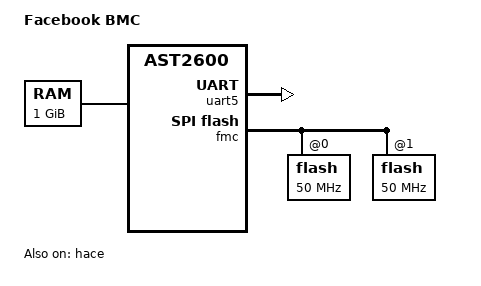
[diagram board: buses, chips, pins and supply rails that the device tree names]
// SPDX-License-Identifier: GPL-2.0+
// Copyright (c) 2024 Meta Platforms Inc.
/dts-v1/;

#include "ast2600-u-boot.dtsi"

/ {
	model = "Facebook BMC";
	compatible = "facebook,harma-bmc", "facebook,minerva-bmc", "aspeed,ast2600";

	memory {
		device_type = "memory";
		reg = <0x80000000 0x40000000>;
	};

	chosen {
		stdout-path = &uart5;
	};

	aliases {
		spi0 = &fmc;
	};

	cpus {
		cpu@0 {
			clock-frequency = <800000000>;
		};
		cpu@1 {
			clock-frequency = <800000000>;
		};
	};
};

&uart5 {
	u-boot,dm-pre-reloc;
	status = "okay";
};

&sdrammc {
	clock-frequency = <400000000>;
};

&fmc {
	status = "okay";

	pinctrl-names = "default";
	pinctrl-0 = <&pinctrl_fmcquad_default>;

	flash@0 {
		status = "okay";
		spi-max-frequency = <50000000>;
		spi-tx-bus-width = <2>;
		spi-rx-bus-width = <2>;
	};

	flash@1 {
		status = "okay";
		spi-max-frequency = <50000000>;
		spi-tx-bus-width = <2>;
		spi-rx-bus-width = <2>;
	};
};

&hace {
	status = "okay";
};
